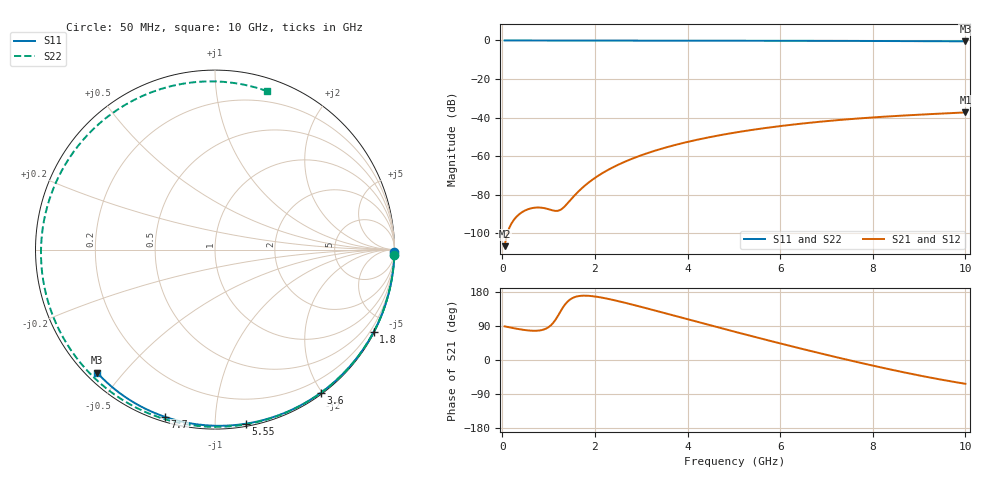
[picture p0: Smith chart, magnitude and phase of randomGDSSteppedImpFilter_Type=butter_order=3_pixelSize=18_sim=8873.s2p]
! freq	dB(S11)	phase(S11)	dB(S12)	phase(S12)
!  dB(S21)	phase(S21)	dB(S22)	phase(S22)
!S-par simulation data
#  GHz  S  DB  R 50
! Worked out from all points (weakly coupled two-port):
!   200 points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, 50 MHz to 10 GHz, reference 50 ohm
!   highest |S21| = -37.28 dB at 10 GHz (marker M1); lowest = -106.6 dB at 50 MHz (marker M2)
!   lowest |S11| = -0.4 dB at 10 GHz (marker M3), VSWR 38.69, Z = 1.53 - j21.3 ohm
!   |S11| at or under -10 dB: nowhere
!   |S22| runs from -0.6 to 0.0 dB; largest |S21 - S12| = 0
!   S11 on the Smith chart (normalised r, x): 50 MHz: open; 1.8 GHz: 0.04, -4.11; 3.6 GHz: 0.02, -1.98; 5.55 GHz: 0.02, -1.19; 7.7 GHz: 0.02, -0.74; 10 GHz: 0.03, -0.43
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0.05  -0.00 -0.8  -106.57 88.7  -106.57 88.7  -0.00 -1.8
0.4  -0.01 -6.2  -89.39 80.6  -89.39 80.6  -0.02 -14.6
0.75  -0.01 -11.5  -86.54 77.3  -86.54 77.3  -0.04 -27.2
1.15  -0.02 -17.6  -88.31 106.4  -88.31 106.4  -0.05 -41.3
1.55  -0.03 -23.6  -80.57 165.4  -80.57 165.4  -0.07 -54.9
1.75  -0.03 -26.6  -75.87 169.7  -75.87 169.7  -0.08 -61.6
1.8  -0.03 -27.4  -74.84 169.8  -74.84 169.8  -0.08 -63.2
2.1  -0.04 -31.8  -69.64 165.7  -69.64 165.7  -0.09 -72.9
2.45  -0.05 -37.0  -64.99 156.9  -64.99 156.9  -0.10 -83.8
2.9  -0.06 -43.5  -60.37 143.3  -60.37 143.3  -0.12 -97.2
3.4  -0.07 -50.7  -56.36 127.3  -56.36 127.3  -0.13 -111.3
3.6  -0.07 -53.5  -54.99 120.7  -54.99 120.7  -0.14 -116.8
4.35  -0.09 -63.9  -50.72 96.2  -50.72 96.2  -0.17 -136.5
5.05  -0.11 -73.3  -47.62 73.6  -47.62 73.6  -0.21 -154.0
5.55  -0.13 -79.9  -45.79 57.8  -45.79 57.8  -0.23 -166.2
6.15  -0.15 -87.6  -43.93 39.2  -43.93 39.2  -0.27 179.2
6.7  -0.18 -94.5  -42.49 22.5  -42.49 22.5  -0.31 165.7
7.7  -0.24 -106.8  -40.39 -6.5  -40.39 -6.5  -0.39 140.3
8.35  -0.29 -114.5  -39.34 -24.2  -39.34 -24.2  -0.45 122.7
9.2  -0.37 -124.5  -38.21 -45.5  -38.21 -45.5  -0.54 97.8
9.6  -0.41 -129.1  -37.74 -54.5  -37.74 -54.5  -0.58 85.2
10  -0.45 -133.7  -37.28 -62.7  -37.28 -62.7  -0.64 72.0
